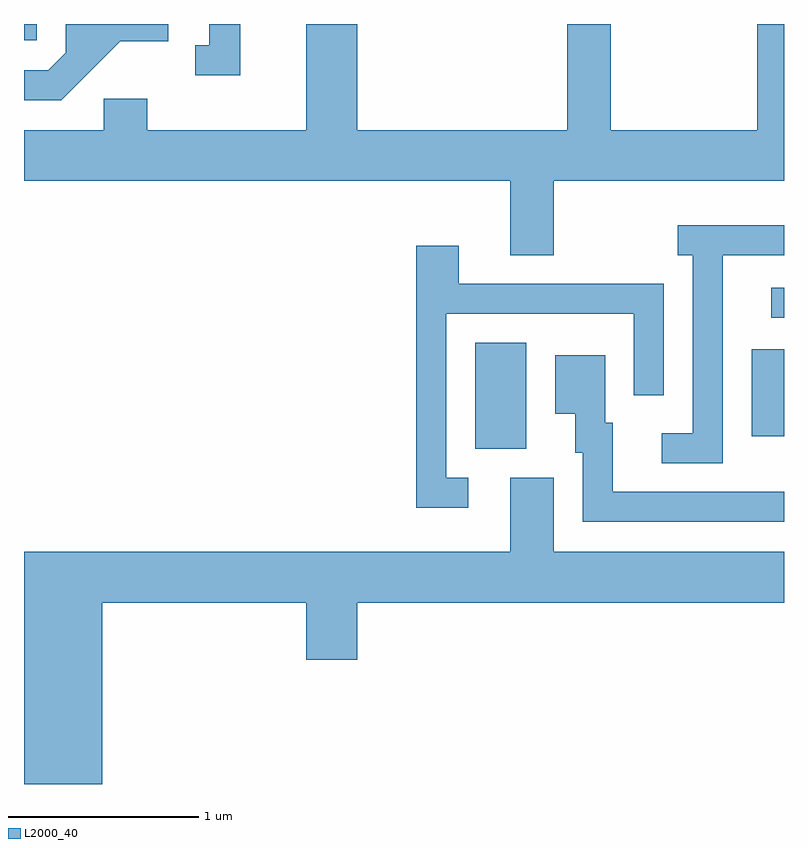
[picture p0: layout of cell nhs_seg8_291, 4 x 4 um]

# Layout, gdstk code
import gdstk
lib = gdstk.Library(unit=1e-6, precision=1e-09)
def R(c, l, rs):  # rectangles x0, y0, x1, y1
    for r in rs: c.add(gdstk.rectangle(r[:2], r[2:], *l))
def P(c, l, *ps):  # polygons
    for p in ps: c.add(gdstk.Polygon(p, *l))
L2000_40 = (2000, 40)

nhs_seg8_291 = lib.new_cell('nhs_seg8_291')
R(nhs_seg8_291, L2000_40, [(195.986,1846.106,196.254,1846.664), (197.441,1846.171,197.611,1846.629), (197.543,1846.796,197.611,1846.954), (193.611,1848.256,193.679,1848.342)])
P(nhs_seg8_291, L2000_40, [(194.749,1848.342),(194.586,1848.342),(194.586,1848.229),(194.513,1848.229),(194.513,1848.071),(194.749,1848.071)],
  [(196.399,1847.516),(197.611,1847.516),(197.611,1848.342),(197.471,1848.342),(197.471,1847.784),(196.699,1847.784),(196.699,1848.342),(196.471,1848.342),(196.471,1847.784),(195.364,1847.784),(195.364,1848.342),(195.096,1848.342),(195.096,1847.784),(194.259,1847.784),(194.259,1847.949),(194.031,1847.949),(194.031,1847.784),(193.611,1847.784),(193.611,1847.516),(196.171,1847.516),(196.171,1847.126),(196.399,1847.126)],
  [(194.117,1848.251),(194.369,1848.251),(194.369,1848.342),(193.831,1848.342),(193.831,1848.192),(193.739,1848.099),(193.611,1848.099),(193.611,1847.941),(193.807,1847.941)],
  [(197.289,1847.126),(197.611,1847.126),(197.611,1847.284),(197.053,1847.284),(197.053,1847.126),(197.131,1847.126),(197.131,1846.189),(196.968,1846.189),(196.968,1846.031),(197.289,1846.031)],
  [(195.948,1845.954),(195.834,1845.954),(195.834,1846.816),(196.821,1846.816),(196.821,1846.388),(196.979,1846.388),(196.979,1846.974),(195.899,1846.974),(195.899,1847.174),(195.676,1847.174),(195.676,1845.796),(195.948,1845.796)],
  [(197.611,1845.879),(196.709,1845.879),(196.709,1846.244),(196.669,1846.244),(196.669,1846.599),(196.406,1846.599),(196.406,1846.291),(196.511,1846.291),(196.511,1846.086),(196.551,1846.086),(196.551,1845.721),(197.611,1845.721)],
  [(194.024,1845.296),(195.096,1845.296),(195.096,1844.996),(195.364,1844.996),(195.364,1845.296),(197.611,1845.296),(197.611,1845.564),(196.399,1845.564),(196.399,1845.954),(196.171,1845.954),(196.171,1845.564),(193.611,1845.564),(193.611,1844.342),(194.024,1844.342)])

lib.write_gds('nhs_seg8_291.gds')
